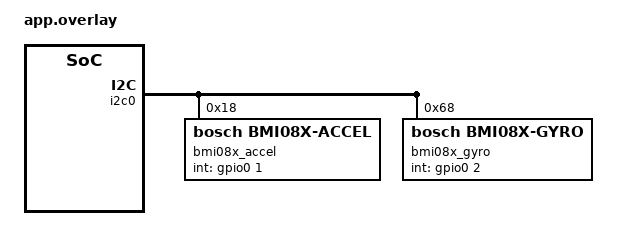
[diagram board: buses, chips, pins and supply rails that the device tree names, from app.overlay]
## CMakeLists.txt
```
# Copyright The Zephyr Project Contributors
# SPDX-License-Identifier: Apache-2.0

cmake_minimum_required(VERSION 3.28.0)
find_package(Zephyr REQUIRED HINTS $ENV{ZEPHYR_BASE})
project(bmi08x)

target_include_directories(app PRIVATE ${ZEPHYR_BASE}/drivers/sensor/bosch/bmi08x)
target_sources(app PRIVATE src/main.c)
```

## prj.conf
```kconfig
# Copyright The Zephyr Project Contributors
# SPDX-License-Identifier: Apache-2.0

CONFIG_ZTEST=y
CONFIG_SENSOR=y
CONFIG_SENSOR_ASYNC_API=y
CONFIG_EMUL=y
# The driver configuration references the int-gpios controller
CONFIG_GPIO=y
# No emulator backs the devices, only their decoders are tested
CONFIG_SENSOR_LOG_LEVEL_OFF=y
```

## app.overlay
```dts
/*
 * Copyright The Zephyr Project Contributors
 *
 * SPDX-License-Identifier: Apache-2.0
 */

#include <zephyr/dt-bindings/gpio/gpio.h>

&i2c0 {
	bmi08x_accel: bmi08x-accel@18 {
		compatible = "bosch,bmi08x-accel";
		reg = <0x18>;
		int-gpios = <&gpio0 1 GPIO_ACTIVE_HIGH>;
		accel-hz = "100";
		accel-fs = <6>;
		fifo-watermark = <4>;
	};

	bmi08x_gyro: bmi08x-gyro@68 {
		compatible = "bosch,bmi08x-gyro";
		reg = <0x68>;
		int-gpios = <&gpio0 2 GPIO_ACTIVE_HIGH>;
		gyro-hz = "1000_116";
		gyro-fs = <1000>;
		fifo-watermark = <4>;
	};
};
```

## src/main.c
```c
/*
 * Copyright The Zephyr Project Contributors
 *
 * SPDX-License-Identifier: Apache-2.0
 */

#include <zephyr/drivers/sensor.h>
#include <zephyr/sys/byteorder.h>
#include <zephyr/ztest.h>

#define DT_DRV_COMPAT bosch_bmi08x_accel
#include "bmi08x.h"

/* Allowed error of a decoded value, in micro-m/s^2 or micro-rad/s */
#define TOLERANCE_MICRO 10

#define LAST_TS_NS 1000000000ULL

/* Accel FIFO frame headers, with the interrupt tag bits cleared */
#define ACC_FIFO_ACCEL  0x84
#define ACC_FIFO_SKIP   0x40
#define ACC_FIFO_TIME   0x44
#define ACC_FIFO_CONFIG 0x48
#define ACC_FIFO_DROP   0x50
#define ACC_FIFO_EMPTY  0x80

#define MAX_READINGS 8

static const struct sensor_decoder_api *accel_decoder =
	SENSOR_DECODER_DT_GET(DT_NODELABEL(bmi08x_accel));
static const struct sensor_decoder_api *gyro_decoder =
	SENSOR_DECODER_DT_GET(DT_NODELABEL(bmi08x_gyro));

static const struct sensor_chan_spec chan_accel = {SENSOR_CHAN_ACCEL_XYZ, 0};
static const struct sensor_chan_spec chan_gyro = {SENSOR_CHAN_GYRO_XYZ, 0};

/* Encoded buffers, as allocated by the driver: the header followed by the FIFO data */
static uint8_t accel_buf[sizeof(struct bmi08x_accel_encoded_data) + 64] __aligned(8);
static uint8_t gyro_buf[sizeof(struct bmi08x_gyro_encoded_data) + 64] __aligned(8);

static struct bmi08x_accel_encoded_data *const accel_edata =
	(struct bmi08x_accel_encoded_data *)accel_buf;
static struct bmi08x_gyro_encoded_data *const gyro_edata =
	(struct bmi08x_gyro_encoded_data *)gyro_buf;

static struct {
	struct sensor_three_axis_data data;
	struct sensor_three_axis_sample_data extra[MAX_READINGS - 1];
} out;

/* Readings of out, all MAX_READINGS of them */
static const struct sensor_three_axis_sample_data *const readings = out.data.readings;

struct xyz {
	int16_t x;
	int16_t y;
	int16_t z;
};

static int64_t q31_to_micro(q31_t value, int8_t shift)
{
	return ((int64_t)value * 1000000) >> (31 - shift);
}

/* Full scale in g: 2, 4, 8, 16 g for the BMI085 and 3, 6, 12, 24 g for the BMI088 */
static int64_t accel_raw_to_micro(int16_t raw, uint8_t chip_id, uint8_t range)
{
	int64_t fs_g = ((chip_id == BMI085_ACCEL_CHIP_ID) ? 2 : 3) << range;

	return (int64_t)raw * fs_g * SENSOR_G / 32768;
}

/* Full scale in dps: 2000, 1000, 500, 250, 125 dps */
static int64_t gyro_raw_to_micro(int16_t raw, uint8_t range)
{
	int64_t fs_dps = 2000 >> range;

	return (int64_t)raw * fs_dps * SENSOR_PI / 180 / 32768;
}

static void check_value(q31_t value, int8_t shift, int64_t expected)
{
	int64_t actual = q31_to_micro(value, shift);

	zassert_within(actual, expected, TOLERANCE_MICRO, "got %lld, expected %lld", actual,
		       expected);
}

static void check_accel(const struct sensor_three_axis_sample_data *reading, int8_t shift,
			const struct xyz *raw, uint8_t chip_id, uint8_t range)
{
	check_value(reading->x, shift, accel_raw_to_micro(raw->x, chip_id, range));
	check_value(reading->y, shift, accel_raw_to_micro(raw->y, chip_id, range));
	check_value(reading->z, shift, accel_raw_to_micro(raw->z, chip_id, range));
}

static void check_gyro(const struct sensor_three_axis_sample_data *reading, int8_t shift,
		       const struct xyz *raw, uint8_t range)
{
	check_value(reading->x, shift, gyro_raw_to_micro(raw->x, range));
	check_value(reading->y, shift, gyro_raw_to_micro(raw->y, range));
	check_value(reading->z, shift, gyro_raw_to_micro(raw->z, range));
}

static void put_xyz(uint8_t *dst, const struct xyz *raw)
{
	sys_put_le16((uint16_t)raw->x, &dst[0]);
	sys_put_le16((uint16_t)raw->y, &dst[2]);
	sys_put_le16((uint16_t)raw->z, &dst[4]);
}

static uint64_t reading_ts(int idx)
{
	return out.data.header.base_timestamp_ns + readings[idx].timestamp_delta;
}

static void check_unsupported(const struct sensor_decoder_api *decoder, const uint8_t *buffer,
			      struct sensor_chan_spec chan)
{
	size_t base_size;
	size_t frame_size;
	uint16_t frame_count;
	uint32_t fit = 0;

	zassert_equal(decoder->get_size_info(chan, &base_size, &frame_size), -ENOTSUP);
	zassert_equal(decoder->get_frame_count(buffer, chan, &frame_count), -ENOTSUP);
	zassert_equal(decoder->decode(buffer, chan, &fit, 1, &out), -ENOTSUP);
}

static void check_size_info(const struct sensor_decoder_api *decoder, struct sensor_chan_spec chan)
{
	size_t base_size;
	size_t frame_size;

	zassert_ok(decoder->get_size_info(chan, &base_size, &frame_size));
	zassert_equal(base_size, sizeof(struct sensor_three_axis_data));
	zassert_equal(frame_size, sizeof(struct sensor_three_axis_sample_data));
}

ZTEST(bmi08x_decoder, test_size_info)
{
	check_size_info(accel_decoder, chan_accel);
	check_size_info(gyro_decoder, chan_gyro);
}

static void accel_one_shot(uint8_t chip_id, uint8_t range, const struct xyz *raw)
{
	const uint8_t *buffer = accel_buf;
	uint16_t frame_count;
	uint32_t fit = 0;

	memset(accel_buf, 0, sizeof(accel_buf));
	accel_edata->header.timestamp = LAST_TS_NS;
	accel_edata->header.has_accel = true;
	accel_edata->header.chip_id = chip_id;
	accel_edata->header.range = range;
	accel_edata->header.sample_count = 1;
	accel_edata->header.accel_odr = BMI08X_ACCEL_ODR_100_HZ;
	put_xyz((uint8_t *)accel_edata->payload, raw);

	zassert_ok(accel_decoder->get_frame_count(buffer, chan_accel, &frame_count));
	zassert_equal(frame_count, 1);

	zassert_equal(accel_decoder->decode(buffer, chan_accel, &fit, MAX_READINGS, &out), 1);
	zassert_equal(out.data.header.reading_count, 1);
	zassert_equal(out.data.shift, 5 + range);
	zassert_equal(reading_ts(0), LAST_TS_NS);
	check_accel(&readings[0], out.data.shift, raw, chip_id, range);
	zassert_equal(accel_decoder->decode(buffer, chan_accel, &fit, MAX_READINGS, &out), 0);

	zassert_false(accel_decoder->has_trigger(buffer, SENSOR_TRIG_FIFO_WATERMARK));
}

ZTEST(bmi08x_decoder, test_accel_one_shot)
{
	const struct xyz bmi088_3g = {10923, -10923, 0};
	const struct xyz bmi088_24g = {INT16_MAX, INT16_MIN, 1365};
	const struct xyz bmi085_2g = {16384, -1, 1};
	const struct xyz bmi085_16g = {-2048, 2048, INT16_MIN};

	accel_one_shot(BMI088_ACCEL_CHIP_ID, BMI08X_ACC_RANGE_2G_3G, &bmi088_3g);
	accel_one_shot(BMI088_ACCEL_CHIP_ID, BMI08X_ACC_RANGE_16G_24G, &bmi088_24g);
	accel_one_shot(BMI085_ACCEL_CHIP_ID, BMI08X_ACC_RANGE_2G_3G, &bmi085_2g);
	accel_one_shot(BMI085_ACCEL_CHIP_ID, BMI08X_ACC_RANGE_16G_24G, &bmi085_16g);
}

ZTEST(bmi08x_decoder, test_accel_unsupported)
{
	const struct xyz raw = {1, 2, 3};
	uint16_t frame_count;
	uint32_t fit = 0;

	accel_one_shot(BMI088_ACCEL_CHIP_ID, BMI08X_ACC_RANGE_4G_6G, &raw);

	check_unsupported(accel_decoder, accel_buf,
			  (struct sensor_chan_spec){SENSOR_CHAN_ACCEL_X, 0});
	check_unsupported(accel_decoder, accel_buf,
			  (struct sensor_chan_spec){SENSOR_CHAN_ACCEL_XYZ, 1});
	check_unsupported(accel_decoder, accel_buf, chan_gyro);

	accel_edata->header.has_accel = false;
	zassert_equal(accel_decoder->get_frame_count(accel_buf, chan_accel, &frame_count),
		      -ENODATA);
	zassert_equal(accel_decoder->decode(accel_buf, chan_accel, &fit, 1, &out), -ENODATA);
}

#define ACCEL_FIFO_READINGS 4

static const struct xyz accel_fifo_raw[ACCEL_FIFO_READINGS] = {
	{100, -100, 5461},
	{200, -200, 5462},
	{-300, 300, -5461},
	{INT16_MAX, INT16_MIN, 0},
};

static size_t put_accel_frame(uint8_t *fifo, size_t pos, uint8_t tags, const struct xyz *raw)
{
	fifo[pos] = ACC_FIFO_ACCEL | tags;
	put_xyz(&fifo[pos + 1], raw);

	return pos + 7;
}

static size_t put_control_frame(uint8_t *fifo, size_t pos, uint8_t header, size_t len)
{
	fifo[pos] = header;
	for (size_t i = 1; i < len; i++) {
		fifo[pos + i] = 0x5A;
	}

	return pos + len;
}

/*
 * Fill a FIFO buffer as read by the driver: accel frames interleaved with control frames,
 * followed by empty frames returned when reading past the FIFO fill level.
 */
static void accel_fifo_fill(uint8_t odr, uint8_t range)
{
	uint8_t *fifo = accel_edata->fifo;
	size_t pos = 0;

	memset(accel_buf, 0, sizeof(accel_buf));
	accel_edata->header.timestamp = LAST_TS_NS;
	accel_edata->header.has_accel = true;
	accel_edata->header.is_streaming = true;
	accel_edata->header.chip_id = BMI088_ACCEL_CHIP_ID;
	accel_edata->header.range = range;
	accel_edata->header.sample_count = ACCEL_FIFO_READINGS;
	accel_edata->header.accel_odr = odr;
	accel_edata->header.fifo_len = 40;

	pos = put_accel_frame(fifo, pos, 0x00, &accel_fifo_raw[0]);
	pos = put_control_frame(fifo, pos, ACC_FIFO_SKIP, 2);
	pos = put_accel_frame(fifo, pos, 0x01, &accel_fifo_raw[1]);
	pos = put_control_frame(fifo, pos, ACC_FIFO_CONFIG, 2);
	pos = put_control_frame(fifo, pos, ACC_FIFO_DROP, 2);
	pos = put_accel_frame(fifo, pos, 0x02, &accel_fifo_raw[2]);
	pos = put_control_frame(fifo, pos, ACC_FIFO_TIME, 4);
	pos = put_accel_frame(fifo, pos, 0x03, &accel_fifo_raw[3]);
	pos = put_control_frame(fifo, pos, ACC_FIFO_EMPTY, 2);
	pos = put_control_frame(fifo, pos, ACC_FIFO_EMPTY, 2);
	accel_edata->header.buf_len = pos;
}

static void accel_fifo_check(uint8_t odr, uint64_t period_ns)
{
	const uint8_t *buffer = accel_buf;
	const uint8_t range = BMI08X_ACC_RANGE_8G_12G;
	uint16_t frame_count;
	uint32_t fit = 0;

	accel_fifo_fill(odr, range);

	zassert_ok(accel_decoder->get_frame_count(buffer, chan_accel, &frame_count));
	zassert_equal(frame_count, ACCEL_FIFO_READINGS);

	/* All readings in one call */
	zassert_equal(accel_decoder->decode(buffer, chan_accel, &fit, MAX_READINGS, &out),
		      ACCEL_FIFO_READINGS);
	zassert_equal(out.data.header.reading_count, ACCEL_FIFO_READINGS);
	zassert_equal(out.data.shift, 7);
	for (int i = 0; i < ACCEL_FIFO_READINGS; i++) {
		zassert_equal(reading_ts(i),
			      LAST_TS_NS - (ACCEL_FIFO_READINGS - 1 - i) * period_ns);
		check_accel(&readings[i], out.data.shift, &accel_fifo_raw[i], BMI088_ACCEL_CHIP_ID,
			    range);
	}
	zassert_equal(accel_decoder->decode(buffer, chan_accel, &fit, MAX_READINGS, &out), 0);

	/* One reading per call */
	fit = 0;
	for (int i = 0; i < ACCEL_FIFO_READINGS; i++) {
		zassert_equal(accel_decoder->decode(buffer, chan_accel, &fit, 1, &out), 1);
		zassert_equal(out.data.header.reading_count, 1);
		zassert_equal(reading_ts(0),
			      LAST_TS_NS - (ACCEL_FIFO_READINGS - 1 - i) * period_ns);
		check_accel(&readings[0], out.data.shift, &accel_fifo_raw[i], BMI088_ACCEL_CHIP_ID,
			    range);
	}
	zassert_equal(accel_decoder->decode(buffer, chan_accel, &fit, 1, &out), 0);
}

ZTEST(bmi08x_decoder, test_accel_fifo)
{
	accel_fifo_check(BMI08X_ACCEL_ODR_100_HZ, 10000000ULL);
	accel_fifo_check(BMI08X_ACCEL_ODR_12_5_HZ, 80000000ULL);
	accel_fifo_check(BMI08X_ACCEL_ODR_1600_HZ, 625000ULL);
}

ZTEST(bmi08x_decoder, test_accel_fifo_above_watermark)
{
	const uint8_t *buffer = accel_buf;
	uint16_t frame_count;
	uint32_t fit = 0;

	/* The driver reads one frame more than the watermark: the newest one has the timestamp */
	accel_fifo_fill(BMI08X_ACCEL_ODR_100_HZ, BMI08X_ACC_RANGE_2G_3G);
	accel_edata->header.sample_count = ACCEL_FIFO_READINGS - 1;

	zassert_ok(accel_decoder->get_frame_count(buffer, chan_accel, &frame_count));
	zassert_equal(frame_count, ACCEL_FIFO_READINGS);
	zassert_equal(accel_decoder->decode(buffer, chan_accel, &fit, 0, &out), 0);
	zassert_equal(accel_decoder->decode(buffer, chan_accel, &fit, MAX_READINGS, &out),
		      ACCEL_FIFO_READINGS);
	zassert_equal(reading_ts(0), LAST_TS_NS - (ACCEL_FIFO_READINGS - 1) * 10000000ULL);
	zassert_equal(reading_ts(ACCEL_FIFO_READINGS - 1), LAST_TS_NS);
}

ZTEST(bmi08x_decoder, test_accel_fifo_partial_frame)
{
	const uint8_t *buffer = accel_buf;
	uint16_t frame_count;
	uint32_t fit = 0;

	/* A truncated accel frame at the end of the buffer is ignored */
	accel_fifo_fill(BMI08X_ACCEL_ODR_100_HZ, BMI08X_ACC_RANGE_2G_3G);
	accel_edata->header.buf_len -= 4;
	(void)put_accel_frame(accel_edata->fifo, accel_edata->header.buf_len, 0x00,
			      &accel_fifo_raw[0]);
	accel_edata->header.buf_len += 4;

	zassert_ok(accel_decoder->get_frame_count(buffer, chan_accel, &frame_count));
	zassert_equal(frame_count, ACCEL_FIFO_READINGS);
	zassert_equal(accel_decoder->decode(buffer, chan_accel, &fit, MAX_READINGS, &out),
		      ACCEL_FIFO_READINGS);
	zassert_equal(reading_ts(ACCEL_FIFO_READINGS - 1), LAST_TS_NS);
	check_accel(&readings[ACCEL_FIFO_READINGS - 1], out.data.shift,
		    &accel_fifo_raw[ACCEL_FIFO_READINGS - 1], BMI088_ACCEL_CHIP_ID,
		    BMI08X_ACC_RANGE_2G_3G);
}

ZTEST(bmi08x_decoder, test_accel_fifo_invalid_header)
{
	const uint8_t *buffer = accel_buf;
	uint16_t frame_count;
	uint32_t fit = 0;

	/* Decoding stops at an invalid frame header, the frames before it are kept */
	accel_fifo_fill(BMI08X_ACCEL_ODR_100_HZ, BMI08X_ACC_RANGE_2G_3G);
	accel_edata->fifo[7] = 0x10;

	zassert_ok(accel_decoder->get_frame_count(buffer, chan_accel, &frame_count));
	zassert_equal(frame_count, 1);
	zassert_equal(accel_decoder->decode(buffer, chan_accel, &fit, MAX_READINGS, &out), 1);
	check_accel(&readings[0], out.data.shift, &accel_fifo_raw[0], BMI088_ACCEL_CHIP_ID,
		    BMI08X_ACC_RANGE_2G_3G);
	zassert_equal(accel_decoder->decode(buffer, chan_accel, &fit, MAX_READINGS, &out), 0);

	/* Invalid header in the first frame */
	accel_edata->fifo[0] = 0x10;
	fit = 0;
	zassert_ok(accel_decoder->get_frame_count(buffer, chan_accel, &frame_count));
	zassert_equal(frame_count, 0);
	zassert_equal(accel_decoder->decode(buffer, chan_accel, &fit, MAX_READINGS, &out), 0);
}

ZTEST(bmi08x_decoder, test_accel_fifo_no_accel_frame)
{
	const uint8_t *buffer = accel_buf;
	uint16_t frame_count;
	uint32_t fit = 0;
	size_t pos = 0;

	/* A FIFO holding control frames only has no reading of the channel */
	accel_fifo_fill(BMI08X_ACCEL_ODR_100_HZ, BMI08X_ACC_RANGE_2G_3G);
	pos = put_control_frame(accel_edata->fifo, pos, ACC_FIFO_SKIP, 2);
	pos = put_control_frame(accel_edata->fifo, pos, ACC_FIFO_TIME, 4);
	pos = put_control_frame(accel_edata->fifo, pos, ACC_FIFO_EMPTY, 2);
	accel_edata->header.buf_len = pos;

	zassert_ok(accel_decoder->get_frame_count(buffer, chan_accel, &frame_count));
	zassert_equal(frame_count, 0);
	zassert_equal(accel_decoder->decode(buffer, chan_accel, &fit, MAX_READINGS, &out),
		      -ENODATA);

	/* An empty FIFO buffer has no frame */
	accel_edata->header.buf_len = 0;
	zassert_ok(accel_decoder->get_frame_count(buffer, chan_accel, &frame_count));
	zassert_equal(frame_count, 0);
	zassert_equal(accel_decoder->decode(buffer, chan_accel, &fit, MAX_READINGS, &out), 0);
}

ZTEST(bmi08x_decoder, test_accel_fifo_zero_timestamp)
{
	const uint8_t *buffer = accel_buf;
	uint32_t fit = 0;
	int total = 0;
	int ret;

	/*
	 * With a buffer timestamp of 0, as encoded when the sensor clock cannot be read, the
	 * timestamps of the older readings wrap: all readings are still decoded, in order.
	 */
	accel_fifo_fill(BMI08X_ACCEL_ODR_100_HZ, BMI08X_ACC_RANGE_2G_3G);
	accel_edata->header.timestamp = 0;

	while ((ret = accel_decoder->decode(buffer, chan_accel, &fit, MAX_READINGS, &out)) > 0) {
		for (int i = 0; i < ret; i++) {
			zassert_true(total + i < ACCEL_FIFO_READINGS);
			zassert_equal(reading_ts(i),
				      0ULL - (ACCEL_FIFO_READINGS - 1 - total - i) * 10000000ULL);
			check_accel(&readings[i], out.data.shift, &accel_fifo_raw[total + i],
				    BMI088_ACCEL_CHIP_ID, BMI08X_ACC_RANGE_2G_3G);
		}
		total += ret;
	}
	zassert_equal(ret, 0);
	zassert_equal(total, ACCEL_FIFO_READINGS);
}

ZTEST(bmi08x_decoder, test_accel_fifo_trigger)
{
	const uint8_t *buffer = accel_buf;

	accel_fifo_fill(BMI08X_ACCEL_ODR_100_HZ, BMI08X_ACC_RANGE_2G_3G);
	zassert_true(accel_decoder->has_trigger(buffer, SENSOR_TRIG_FIFO_WATERMARK));
	zassert_false(accel_decoder->has_trigger(buffer, SENSOR_TRIG_FIFO_FULL));
	zassert_false(accel_decoder->has_trigger(buffer, SENSOR_TRIG_DATA_READY));

	accel_edata->header.fifo_len = 0;
	zassert_false(accel_decoder->has_trigger(buffer, SENSOR_TRIG_FIFO_WATERMARK));
}

static void gyro_one_shot(uint8_t range, const struct xyz *raw)
{
	const uint8_t *buffer = gyro_buf;
	uint16_t frame_count;
	uint32_t fit = 0;

	memset(gyro_buf, 0, sizeof(gyro_buf));
	gyro_edata->header.timestamp = LAST_TS_NS;
	gyro_edata->header.has_gyro = true;
	gyro_edata->header.range = range;
	gyro_edata->header.sample_count = 1;
	gyro_edata->header.gyro_odr = BMI08X_GYRO_BW_116_ODR_1000_HZ;
	/* Not written for single samples */
	gyro_edata->header.int_status = 0xFF;
	gyro_edata->header.fifo_status = 0x00;
	put_xyz((uint8_t *)&gyro_edata->frame, raw);

	zassert_ok(gyro_decoder->get_frame_count(buffer, chan_gyro, &frame_count));
	zassert_equal(frame_count, 1);

	zassert_equal(gyro_decoder->decode(buffer, chan_gyro, &fit, MAX_READINGS, &out), 1);
	zassert_equal(out.data.header.reading_count, 1);
	zassert_equal(out.data.shift, 6 - range);
	zassert_equal(reading_ts(0), LAST_TS_NS);
	check_gyro(&readings[0], out.data.shift, raw, range);
	zassert_equal(gyro_decoder->decode(buffer, chan_gyro, &fit, MAX_READINGS, &out), 0);

	zassert_false(gyro_decoder->has_trigger(buffer, SENSOR_TRIG_FIFO_WATERMARK));
}

ZTEST(bmi08x_decoder, test_gyro_one_shot)
{
	const struct xyz raw_2000 = {INT16_MAX, INT16_MIN, 16};
	const struct xyz raw_1000 = {32, -32, 1000};
	const struct xyz raw_125 = {-1, 1, INT16_MIN};

	gyro_one_shot(BMI08X_GYR_RANGE_2000DPS, &raw_2000);
	gyro_one_shot(BMI08X_GYR_RANGE_1000DPS, &raw_1000);
	gyro_one_shot(BMI08X_GYR_RANGE_500DPS, &raw_1000);
	gyro_one_shot(BMI08X_GYR_RANGE_250DPS, &raw_1000);
	gyro_one_shot(BMI08X_GYR_RANGE_125DPS, &raw_125);
}

/*
 * q31 values of a single sample, as computed by the driver with 64-bit arithmetic before it
 * used the decoder helpers. They do not depend on the range: only the shift does.
 */
static q31_t accel_q31_reference(int16_t raw, uint8_t chip_id)
{
	int64_t fs_g = (chip_id == BMI085_ACCEL_CHIP_ID) ? 2 : 3;

	return (q31_t)(((int64_t)raw * fs_g * 2048) * SENSOR_G / 1000000);
}

static q31_t gyro_q31_reference(int16_t raw)
{
	return (q31_t)(((int64_t)raw * 2000 * 1024) * SENSOR_PI / 1000000 / 180);
}

ZTEST(bmi08x_decoder, test_q31_bit_exact)
{
	static const uint8_t chip_ids[] = {BMI085_ACCEL_CHIP_ID, BMI088_ACCEL_CHIP_ID};

	for (int32_t raw = INT16_MIN; raw <= INT16_MAX; raw++) {
		const struct xyz xyz = {raw, -raw - 1, raw};
		uint32_t fit;

		for (size_t i = 0; i < ARRAY_SIZE(chip_ids); i++) {
			memset(accel_buf, 0, sizeof(accel_buf));
			accel_edata->header.has_accel = true;
			accel_edata->header.chip_id = chip_ids[i];
			accel_edata->header.sample_count = 1;
			put_xyz((uint8_t *)accel_edata->payload, &xyz);

			fit = 0;
			zassert_equal(accel_decoder->decode(accel_buf, chan_accel, &fit, 1, &out),
				      1);
			zassert_equal(readings[0].x, accel_q31_reference(xyz.x, chip_ids[i]));
			zassert_equal(readings[0].y, accel_q31_reference(xyz.y, chip_ids[i]));
		}

		memset(gyro_buf, 0, sizeof(gyro_buf));
		gyro_edata->header.has_gyro = true;
		gyro_edata->header.sample_count = 1;
		put_xyz((uint8_t *)&gyro_edata->frame, &xyz);

		fit = 0;
		zassert_equal(gyro_decoder->decode(gyro_buf, chan_gyro, &fit, 1, &out), 1);
		zassert_equal(readings[0].x, gyro_q31_reference(xyz.x));
		zassert_equal(readings[0].y, gyro_q31_reference(xyz.y));
	}
}

ZTEST(bmi08x_decoder, test_gyro_unsupported)
{
	const struct xyz raw = {1, 2, 3};
	uint16_t frame_count;
	uint32_t fit = 0;

	gyro_one_shot(BMI08X_GYR_RANGE_2000DPS, &raw);

	check_unsupported(gyro_decoder, gyro_buf, (struct sensor_chan_spec){SENSOR_CHAN_GYRO_Z, 0});
	check_unsupported(gyro_decoder, gyro_buf,
			  (struct sensor_chan_spec){SENSOR_CHAN_GYRO_XYZ, 1});
	check_unsupported(gyro_decoder, gyro_buf, chan_accel);

	gyro_edata->header.has_gyro = false;
	zassert_equal(gyro_decoder->get_frame_count(gyro_buf, chan_gyro, &frame_count), -ENODATA);
	zassert_equal(gyro_decoder->decode(gyro_buf, chan_gyro, &fit, 1, &out), -ENODATA);
}

#define GYRO_FIFO_WM 4

static const struct xyz gyro_fifo_raw[GYRO_FIFO_WM] = {
	{1000, -1000, 0},
	{2000, -2000, 1},
	{-3000, 3000, INT16_MAX},
	{4000, -4000, INT16_MIN},
};

/* Fill a FIFO buffer with GYRO_FIFO_WM frames; fifo_status holds the FIFO frame count */
static void gyro_fifo_fill(uint8_t odr, uint8_t fifo_status)
{
	uint8_t *fifo = (uint8_t *)gyro_edata->fifo;

	memset(gyro_buf, 0, sizeof(gyro_buf));
	gyro_edata->header.timestamp = LAST_TS_NS;
	gyro_edata->header.has_gyro = true;
	gyro_edata->header.is_streaming = true;
	gyro_edata->header.range = BMI08X_GYR_RANGE_1000DPS;
	gyro_edata->header.sample_count = GYRO_FIFO_WM;
	gyro_edata->header.gyro_odr = odr;
	gyro_edata->header.int_status = BIT(4);
	gyro_edata->header.fifo_status = fifo_status;

	for (int i = 0; i < GYRO_FIFO_WM; i++) {
		put_xyz(&fifo[i * 6], &gyro_fifo_raw[i]);
	}
}

static void gyro_fifo_check(uint8_t odr, uint64_t period_ns, uint8_t fifo_status, int count)
{
	const uint8_t *buffer = gyro_buf;
	uint16_t frame_count;
	uint32_t fit = 0;

	gyro_fifo_fill(odr, fifo_status);

	zassert_ok(gyro_decoder->get_frame_count(buffer, chan_gyro, &frame_count));
	zassert_equal(frame_count, count);

	/* All readings in one call */
	zassert_equal(gyro_decoder->decode(buffer, chan_gyro, &fit, MAX_READINGS, &out), count);
	zassert_equal(out.data.header.reading_count, count);
	zassert_equal(out.data.shift, 5);
	for (int i = 0; i < count; i++) {
		zassert_equal(reading_ts(i), LAST_TS_NS - (count - 1 - i) * period_ns);
		check_gyro(&readings[i], out.data.shift, &gyro_fifo_raw[i],
			   BMI08X_GYR_RANGE_1000DPS);
	}
	zassert_equal(gyro_decoder->decode(buffer, chan_gyro, &fit, MAX_READINGS, &out), 0);

	/* One reading per call */
	fit = 0;
	for (int i = 0; i < count; i++) {
		zassert_equal(gyro_decoder->decode(buffer, chan_gyro, &fit, 1, &out), 1);
		zassert_equal(reading_ts(0), LAST_TS_NS - (count - 1 - i) * period_ns);
		check_gyro(&readings[0], out.data.shift, &gyro_fifo_raw[i],
			   BMI08X_GYR_RANGE_1000DPS);
	}
	zassert_equal(gyro_decoder->decode(buffer, chan_gyro, &fit, 1, &out), 0);
}

ZTEST(bmi08x_decoder, test_gyro_fifo)
{
	/* FIFO holding more frames than the watermark, with the overrun bit set */
	gyro_fifo_check(BMI08X_GYRO_BW_116_ODR_1000_HZ, 1000000ULL, 0x80 | 10, GYRO_FIFO_WM);
	gyro_fifo_check(BMI08X_GYRO_BW_532_ODR_2000_HZ, 500000ULL, GYRO_FIFO_WM, GYRO_FIFO_WM);
	gyro_fifo_check(BMI08X_GYRO_BW_47_ODR_400_HZ, 2500000ULL, GYRO_FIFO_WM, GYRO_FIFO_WM);
	gyro_fifo_check(BMI08X_GYRO_BW_32_ODR_100_HZ, 10000000ULL, GYRO_FIFO_WM, GYRO_FIFO_WM);
	/* Fewer frames in the FIFO than the watermark */
	gyro_fifo_check(BMI08X_GYRO_BW_64_ODR_200_HZ, 5000000ULL, 2, 2);
}

ZTEST(bmi08x_decoder, test_gyro_fifo_empty)
{
	const uint8_t *buffer = gyro_buf;
	uint16_t frame_count;
	uint32_t fit = 0;

	gyro_fifo_fill(BMI08X_GYRO_BW_116_ODR_1000_HZ, 0x00);

	zassert_ok(gyro_decoder->get_frame_count(buffer, chan_gyro, &frame_count));
	zassert_equal(frame_count, 0);
	zassert_equal(gyro_decoder->decode(buffer, chan_gyro, &fit, MAX_READINGS, &out), 0);
	zassert_false(gyro_decoder->has_trigger(buffer, SENSOR_TRIG_FIFO_WATERMARK));
}

ZTEST(bmi08x_decoder, test_gyro_fifo_trigger)
{
	const uint8_t *buffer = gyro_buf;

	gyro_fifo_fill(BMI08X_GYRO_BW_116_ODR_1000_HZ, GYRO_FIFO_WM);
	zassert_true(gyro_decoder->has_trigger(buffer, SENSOR_TRIG_FIFO_WATERMARK));
	zassert_false(gyro_decoder->has_trigger(buffer, SENSOR_TRIG_FIFO_FULL));

	gyro_edata->header.int_status = 0;
	zassert_false(gyro_decoder->has_trigger(buffer, SENSOR_TRIG_FIFO_WATERMARK));
}

ZTEST_SUITE(bmi08x_decoder, NULL, NULL, NULL, NULL, NULL);
```
